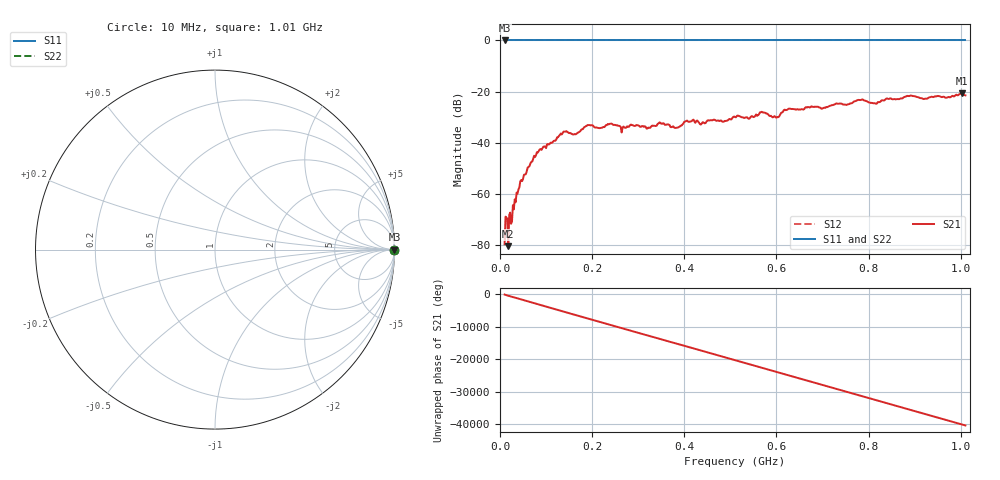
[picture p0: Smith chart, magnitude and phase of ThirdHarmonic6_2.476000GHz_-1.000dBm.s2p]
! 8/17/2025 4:35:26 AM
! C:\ANRITSUVNA\TEMP\TEMP.S2P
! CHANNEL.1
! TR.MEASUREMENT
! RAW.DATA
! RF.CORRECTION.OFF
! AVERAGING.OFF
! IF.BANDWIDTH: 5KHZ
! SWEEPTYPE:  FREQ.SWEEP(Linear)
! Reference Plane Port Info
! PORT:  PORT1  PORT2
! DISTANCE:  0  m  0  m
! TIME:  0  s  0  s
! PHASE.OFFSET:  0  deg.  0  deg.
! LOSS:  0  dB  0  dB
! REF.LOSS:  0  dB  0  dB
! REF.FREQ:  0  Hz  0  Hz
! Power Info
! POWER:  -20  dBm  -20  dBm
! EFF.POWER:  -20  dBm  -20  dBm
! SOURCE.ATTEN:  0  dB  0  dB
! TEST.ATTEN:  0  dB  0  dB
# GHZ S RI R 50.0
! FREQ.GHZ  S11RE  S11IM  S21RE  S21IM  S12RE  S12IM  S22RE  S22IM
!; PortSelection: Port_12
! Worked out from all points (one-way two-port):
!   501 points, 10 MHz to 1.01 GHz, reference 50 ohm
!   highest |S21| = -20.71 dB at 1.002 GHz (marker M1); lowest = -80.5 dB at 18 MHz (marker M2)
!   lowest |S11| = 0.0 dB at 10 MHz (marker M3)
!   |S11| at or under -10 dB: nowhere
!   |S22| runs from 0.0 to 0.0 dB; largest |S21 - S12| = 1.1
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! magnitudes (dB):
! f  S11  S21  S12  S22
! 10 MHz  0.0  -79.8  0.0  0.0
! 18 MHz  0.0  -80.5  0.0  0.0
! 22 MHz  0.0  -67.4  0.0  0.0
! 32 MHz  0.0  -62.2  0.0  0.0
! 48 MHz  0.0  -55.1  0.0  0.0
! 84 MHz  0.0  -43.3  0.0  0.0
! 140 MHz  0.0  -35.7  0.0  0.0
! 162 MHz  0.0  -36.7  0.0  0.0
! 178 MHz  0.0  -34.8  0.0  0.0
! 194 MHz  0.0  -33.1  0.0  0.0
! 322 MHz  0.0  -34.1  0.0  0.0
! 344 MHz  0.0  -32.5  0.0  0.0
! 384 MHz  0.0  -34.1  0.0  0.0
! 404 MHz  0.0  -31.5  0.0  0.0
! 510 MHz  0.0  -29.9  0.0  0.0
! 568 MHz  0.0  -27.9  0.0  0.0
! 602 MHz  0.0  -30.0  0.0  0.0
! 622 MHz  0.0  -27.2  0.0  0.0
! 678 MHz  0.0  -26.0  0.0  0.0
! 844 MHz  0.0  -22.9  0.0  0.0
! 1.002 GHz  0.0  -20.7  0.0  0.0
! 1.01 GHz  0.0  -21.5  0.0  0.0
